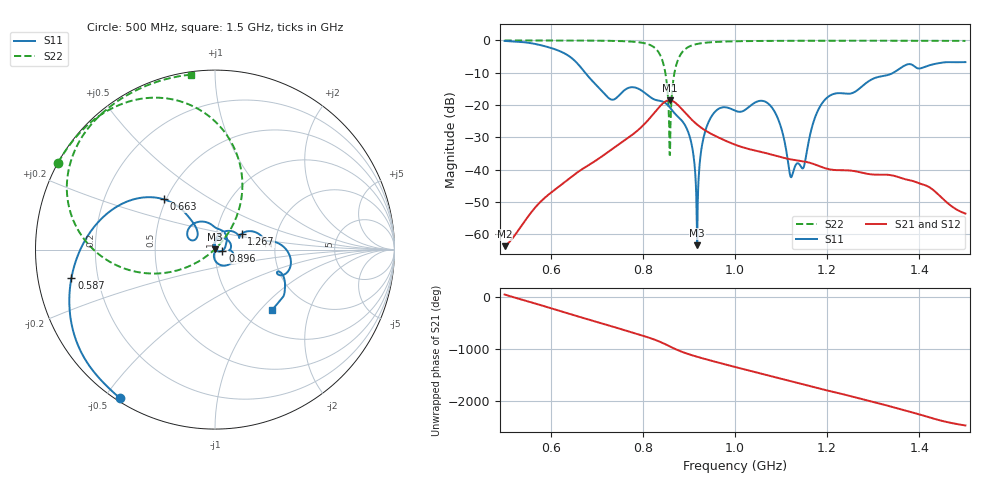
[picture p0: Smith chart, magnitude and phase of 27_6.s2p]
! TOUCHSTONE file generated by CST MICROWAVE STUDIO
! Date and time: Fri Oct  2 18:58:24 2020
! Project name: Scenario_1_Free_Space_out_of_line.cst
! Parameters = {Lambda=346.42; Step_1=17.321; dy1=-103.226; dx1=1039; L_HA=400; MT=2.54; Rad_Dielectric=30; Rad_Lower=7.3; Rad_Upper=30; a_HA=580; a_WG=246; b_HA=500; b_WG=121; c_HA=0; c_WG=187; d_feed=85; h_feed=15; h_lower=18; h_upper=40}
! Header version: 2018
! Port assignment regex: !\s*Touchstone port\s*([0-9]+)\s*=\s*(CST MWS port|CST DS port)\s*([0-9]+|Zmin|Zmax)\s*\(\"(.*)\"\)(\s*mode\s*([0-9]+))?.*
! Touchstone port assignment:
! Touchstone port 1 = CST MWS port 1 ("")
! Touchstone port 2 = CST MWS port 2 ("")
# GHz S DB R 50
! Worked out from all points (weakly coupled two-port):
!   1003 points, 500 MHz to 1.5 GHz, reference 50 ohm
!   highest |S21| = -18.51 dB at 858 MHz (marker M1); lowest = -63.7 dB at 500 MHz (marker M2)
!   lowest |S11| = -63.4 dB at 918 MHz (marker M3), VSWR 1.00, Z = 50 + j0.0673 ohm
!   |S11| at or under -10 dB: 674.9 MHz to 1.344 GHz (668.7 MHz wide, 66.3 % of centre)
!   |S22| runs from -35.5 to 0.0 dB; largest |S21 - S12| = 3e-05
!   S11 on the Smith chart (normalised r, x): 500 MHz: 0.01, -0.55; 587 MHz: 0.10, -0.10; 663 MHz: 0.48, +0.32; 896 MHz: 1.09, -0.01; 1.267 GHz: 1.32, +0.24; 1.5 GHz: 1.36, -1.16
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0.5  -0.15 -122.5  -63.69 46.6  -63.69 46.6  -0.01 151.1
0.587  -1.78 -168.9  -48.74 -179.8  -48.74 -179.8  -0.02 145.0
0.663  -7.93 135.6  -40.35 -21.8  -40.35 -21.8  -0.04 138.6
0.667  -8.61 133.5  -39.98 -32.5  -39.98 -32.5  -0.04 138.3
0.73  -18.21 143.1  -33.97 164.8  -33.97 164.8  -0.13 130.7
0.834  -18.63 80.8  -20.87 -125.8  -20.87 -125.8  -3.62 85.5
0.848  -19.29 61.4  -18.97 179.2  -18.97 179.2  -9.39 63.8
0.858  -20.63 45.3  -18.51 136.1  -18.51 136.1  -35.42 51.8
0.873  -23.17 27.3  -19.58 73.6  -19.58 73.6  -7.35 -162.5
0.896  -27.51 -7.8  -23.04 -4.8  -23.04 -4.8  -2.26 171.9
0.918  -63.40 95.0  -26.07 -64.9  -26.07 -64.9  -1.08 159.0
0.929  -31.99 106.2  -27.26 -92.3  -27.26 -92.3  -0.82 154.8
0.944  -24.83 77.4  -28.59 -128.5  -28.59 -128.5  -0.60 150.4
1  -21.75 -1.6  -32.27 100.5  -32.26 100.5  -0.26 140.2
1.077  -20.22 -65.2  -35.24 -74.0  -35.24 -74.0  -0.14 131.7
1.122  -42.35 -42.4  -36.84 -174.4  -36.84 -174.4  -0.11 127.7
1.149  -39.27 52.6  -37.45 124.7  -37.45 124.7  -0.10 125.5
1.167  -26.87 89.4  -38.08 82.7  -38.08 82.7  -0.10 124.1
1.201  -17.58 52.2  -39.77 8.9  -39.77 8.9  -0.09 121.5
1.267  -15.25 30.7  -40.67 -135.9  -40.67 -135.9  -0.09 116.5
1.334  -10.61 9.4  -41.63 72.9  -41.63 72.9  -0.09 111.4
1.5  -6.71 -46.6  -53.60 61.3  -53.60 60.5  -0.14 97.8
